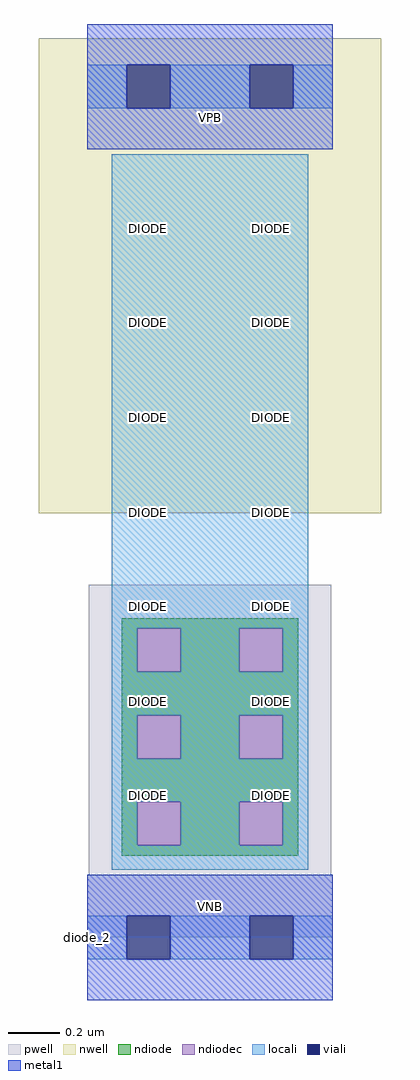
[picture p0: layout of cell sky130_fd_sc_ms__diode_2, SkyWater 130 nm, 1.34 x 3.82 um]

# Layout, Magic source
magic
tech sky130A
magscale 1 2
<< nwell >>
rect -38 332 230 704
<< pwell >>
rect 1 49 191 276
rect 0 0 192 49
<< ndiode >>
rect 27 242 165 250
rect 27 208 39 242
rect 73 208 119 242
rect 153 208 165 242
rect 27 174 165 208
rect 27 140 39 174
rect 73 140 119 174
rect 153 140 165 174
rect 27 106 165 140
rect 27 72 39 106
rect 73 72 119 106
rect 153 72 165 106
rect 27 64 165 72
<< ndiodec >>
rect 39 208 73 242
rect 119 208 153 242
rect 39 140 73 174
rect 119 140 153 174
rect 39 72 73 106
rect 119 72 153 106
<< locali >>
rect 0 649 31 683
rect 65 649 127 683
rect 161 649 192 683
rect 19 242 173 613
rect 19 208 39 242
rect 73 208 119 242
rect 153 208 173 242
rect 19 174 173 208
rect 19 140 39 174
rect 73 140 119 174
rect 153 140 173 174
rect 19 106 173 140
rect 19 72 39 106
rect 73 72 119 106
rect 153 72 173 106
rect 19 53 173 72
rect 0 -17 31 17
rect 65 -17 127 17
rect 161 -17 192 17
<< viali >>
rect 31 649 65 683
rect 127 649 161 683
rect 31 -17 65 17
rect 127 -17 161 17
<< metal1 >>
rect 0 683 192 715
rect 0 649 31 683
rect 65 649 127 683
rect 161 649 192 683
rect 0 617 192 649
rect 0 17 192 49
rect 0 -17 31 17
rect 65 -17 127 17
rect 161 -17 192 17
rect 0 -49 192 -17
<< labels >>
flabel locali s 31 464 65 498 0 FreeSans 200 0 0 0 DIODE
port 1 nsew signal input
flabel locali s 127 168 161 202 0 FreeSans 200 0 0 0 DIODE
port 1 nsew signal input
flabel locali s 127 464 161 498 0 FreeSans 200 0 0 0 DIODE
port 1 nsew signal input
flabel locali s 31 94 65 128 0 FreeSans 200 0 0 0 DIODE
port 1 nsew signal input
flabel locali s 127 242 161 276 0 FreeSans 200 0 0 0 DIODE
port 1 nsew signal input
flabel locali s 31 316 65 350 0 FreeSans 200 0 0 0 DIODE
port 1 nsew signal input
flabel locali s 31 242 65 276 0 FreeSans 200 0 0 0 DIODE
port 1 nsew signal input
flabel locali s 31 168 65 202 0 FreeSans 200 0 0 0 DIODE
port 1 nsew signal input
flabel locali s 127 94 161 128 0 FreeSans 200 0 0 0 DIODE
port 1 nsew signal input
flabel locali s 31 538 65 572 0 FreeSans 200 0 0 0 DIODE
port 1 nsew signal input
flabel locali s 31 390 65 424 0 FreeSans 200 0 0 0 DIODE
port 1 nsew signal input
flabel locali s 127 316 161 350 0 FreeSans 200 0 0 0 DIODE
port 1 nsew signal input
flabel locali s 127 538 161 572 0 FreeSans 200 0 0 0 DIODE
port 1 nsew signal input
flabel locali s 127 390 161 424 0 FreeSans 200 0 0 0 DIODE
port 1 nsew signal input
flabel pwell s 0 0 192 49 0 FreeSans 200 0 0 0 VNB
port 3 nsew ground bidirectional
flabel nwell s 0 617 192 666 0 FreeSans 200 0 0 0 VPB
port 4 nsew power bidirectional
rlabel comment s 0 0 0 0 4 diode_2
flabel metal1 s 0 617 192 666 0 FreeSans 200 0 0 0 VPWR
port 5 nsew power bidirectional abutment
flabel metal1 s 0 0 192 49 0 FreeSans 200 0 0 0 VGND
port 2 nsew ground bidirectional abutment
<< properties >>
string LEFsite unit
string LEFclass CORE ANTENNACELL
string FIXED_BBOX 0 0 192 666
string GDS_FILE $PDKPATH/libs.ref/sky130_fd_sc_ms/gds/sky130_fd_sc_ms.gds
string LEFsymmetry X Y
string GDS_END 2401962
string GDS_START 2398144
<< end >>
